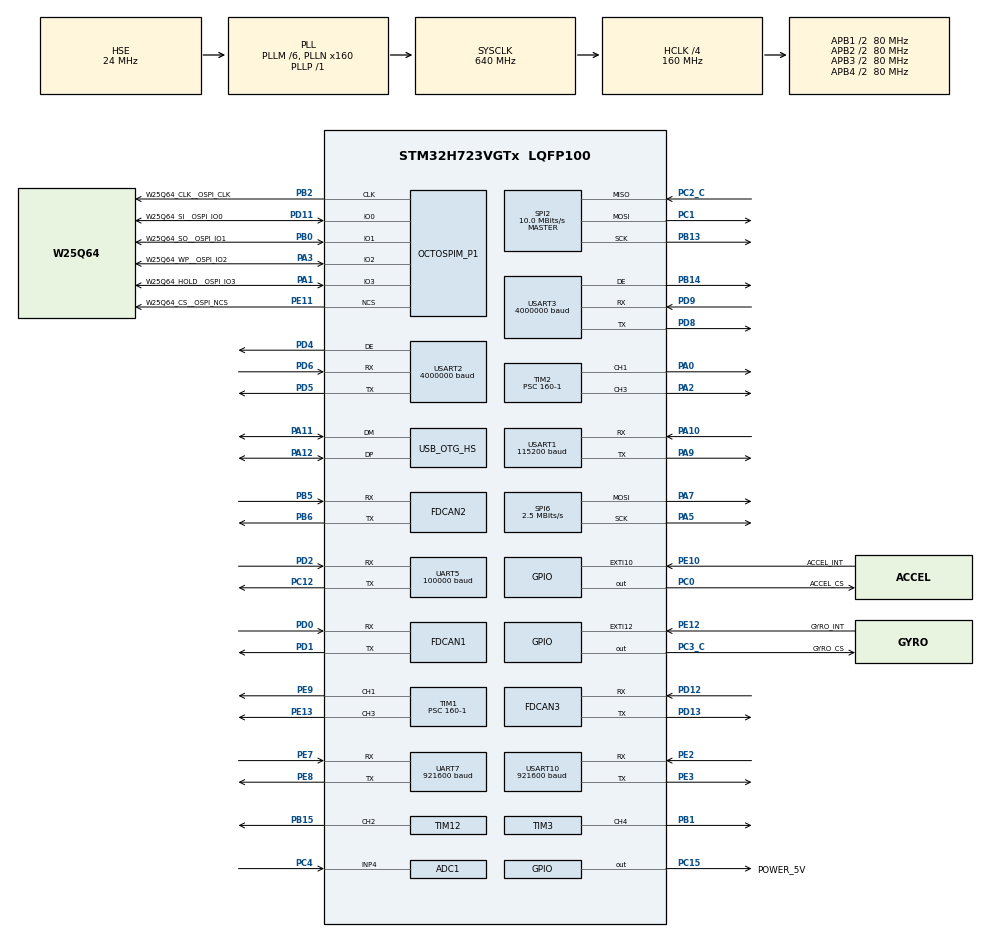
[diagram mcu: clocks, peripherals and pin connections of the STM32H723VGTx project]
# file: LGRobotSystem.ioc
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ADC1.Channel-2\#ChannelRegularConversion=ADC_CHANNEL_4
ADC1.Channel-3\#ChannelRegularConversion=ADC_CHANNEL_4
ADC1.ClockPrescaler=ADC_CLOCK_ASYNC_DIV64
ADC1.ClockPrescalerADC3=ADC_CLOCK_SYNC_PCLK_DIV4
ADC1.ContinuousConvMode=ENABLE
ADC1.ConversionDataManagement=ADC_CONVERSIONDATA_DMA_CIRCULAR
ADC1.NbrOfConversion=2
ADC1.NbrOfConversionFlag=1
ADC1.OffsetNumber-2\#ChannelRegularConversion=ADC_OFFSET_NONE
ADC1.OffsetNumber-3\#ChannelRegularConversion=ADC_OFFSET_NONE
ADC1.OffsetSignedSaturation-2\#ChannelRegularConversion=DISABLE
ADC1.OffsetSignedSaturation-3\#ChannelRegularConversion=DISABLE
ADC1.Rank-2\#ChannelRegularConversion=1
ADC1.Rank-3\#ChannelRegularConversion=2
ADC1.SamplingTime-2\#ChannelRegularConversion=ADC_SAMPLETIME_32CYCLES_5
ADC1.SamplingTime-3\#ChannelRegularConversion=ADC_SAMPLETIME_1CYCLE_5
ADC1.master=1
ADC3.Channel-0\#ChannelRegularConversion=ADC_CHANNEL_TEMPSENSOR
ADC3.ClockPrescalerADC3=ADC_CLOCK_SYNC_PCLK_DIV4
ADC3.DiscontinuousConvMode=ENABLE
ADC3.NbrOfConversionFlag=1
ADC3.OffsetNumber-0\#ChannelRegularConversion=ADC_OFFSET_NONE
ADC3.OffsetSign-0\#ChannelRegularConversion=ADC3_OFFSET_SIGN_NEGATIVE
ADC3.Rank-0\#ChannelRegularConversion=1
ADC3.SamplingTime-0\#ChannelRegularConversion=ADC3_SAMPLETIME_2CYCLES_5
Bdma.ADC3.0.Direction=DMA_PERIPH_TO_MEMORY
Bdma.ADC3.0.EventEnable=DISABLE
Bdma.ADC3.0.Instance=BDMA_Channel0
Bdma.ADC3.0.MemDataAlignment=DMA_MDATAALIGN_HALFWORD
Bdma.ADC3.0.MemInc=DMA_MINC_ENABLE
Bdma.ADC3.0.Mode=DMA_CIRCULAR
Bdma.ADC3.0.PeriphDataAlignment=DMA_PDATAALIGN_HALFWORD
Bdma.ADC3.0.PeriphInc=DMA_PINC_DISABLE
Bdma.ADC3.0.Polarity=HAL_DMAMUX_REQ_GEN_RISING
Bdma.ADC3.0.Priority=DMA_PRIORITY_LOW
Bdma.ADC3.0.RequestNumber=1
Bdma.ADC3.0.SignalID=NONE
Bdma.ADC3.0.SyncEnable=DISABLE
Bdma.ADC3.0.SyncPolarity=HAL_DMAMUX_SYNC_NO_EVENT
Bdma.ADC3.0.SyncRequestNumber=1
Bdma.ADC3.0.SyncSignalID=NONE
Bdma.Request0=ADC3
Bdma.Request1=SPI6_TX
Bdma.RequestsNb=2
Bdma.SPI6_TX.1.Direction=DMA_MEMORY_TO_PERIPH
Bdma.SPI6_TX.1.EventEnable=DISABLE
Bdma.SPI6_TX.1.Instance=BDMA_Channel1
Bdma.SPI6_TX.1.MemDataAlignment=DMA_MDATAALIGN_BYTE
Bdma.SPI6_TX.1.MemInc=DMA_MINC_ENABLE
Bdma.SPI6_TX.1.Mode=DMA_NORMAL
Bdma.SPI6_TX.1.PeriphDataAlignment=DMA_PDATAALIGN_BYTE
Bdma.SPI6_TX.1.PeriphInc=DMA_PINC_DISABLE
Bdma.SPI6_TX.1.Polarity=HAL_DMAMUX_REQ_GEN_RISING
Bdma.SPI6_TX.1.Priority=DMA_PRIORITY_LOW
Bdma.SPI6_TX.1.RequestNumber=1
Bdma.SPI6_TX.1.SignalID=NONE
Bdma.SPI6_TX.1.SyncEnable=DISABLE
Bdma.SPI6_TX.1.SyncPolarity=HAL_DMAMUX_SYNC_NO_EVENT
Bdma.SPI6_TX.1.SyncRequestNumber=1
Bdma.SPI6_TX.1.SyncSignalID=NONE
CORTEX_M7.AccessPermission-Cortex_Memory_Protection_Unit_Region0_Settings=MPU_REGION_FULL_ACCESS
CORTEX_M7.AccessPermission_S-Cortex_Memory_Protection_Unit_Region1_Settings_S=MPU_REGION_FULL_ACCESS
CORTEX_M7.AccessPermission_Spec=MPU_REGION_FULL_ACCESS
CORTEX_M7.BaseAddress-Cortex_Memory_Protection_Unit_Region0_Settings=0x24000000
CORTEX_M7.BaseAddress_S-Cortex_Memory_Protection_Unit_Region1_Settings_S=0x70000000 
CORTEX_M7.BaseAddress_Spec=0x24000000
CORTEX_M7.CPU_DCache=Enabled
CORTEX_M7.CPU_ICache=Enabled
CORTEX_M7.DisableExec_Spec=MPU_INSTRUCTION_ACCESS_ENABLE
CORTEX_M7.Enable-Cortex_Memory_Protection_Unit_Region0_Settings=MPU_REGION_ENABLE
CORTEX_M7.Enable_S-Cortex_Memory_Protection_Unit_Region1_Settings_S=MPU_REGION_ENABLE
CORTEX_M7.IsBufferable_Spec=MPU_ACCESS_NOT_BUFFERABLE
CORTEX_M7.IsCacheable_Spec=MPU_ACCESS_NOT_CACHEABLE
CORTEX_M7.IsShareable_Spec=MPU_ACCESS_NOT_SHAREABLE
CORTEX_M7.MPU_Control=MPU_HFNMI_PRIVDEF
CORTEX_M7.Size-Cortex_Memory_Protection_Unit_Region0_Settings=MPU_REGION_SIZE_512KB
CORTEX_M7.Size_S-Cortex_Memory_Protection_Unit_Region1_Settings_S=MPU_REGION_SIZE_256MB
CORTEX_M7.Size_Spec=MPU_REGION_SIZE_512KB
CORTEX_M7.SubRegionDisable_Spec=0x0
CORTEX_M7.TypeExtField-Cortex_Memory_Protection_Unit_Region0_Settings=MPU_TEX_LEVEL1
CORTEX_M7.TypeExtField_S-Cortex_Memory_Protection_Unit_Region1_Settings_S=MPU_TEX_LEVEL1
CORTEX_M7.TypeExtField_Spec=MPU_TEX_LEVEL1
CORTEX_M7.default_mode_Activation=1
Dma.ADC1.14.Direction=DMA_PERIPH_TO_MEMORY
Dma.ADC1.14.EventEnable=DISABLE
Dma.ADC1.14.FIFOMode=DMA_FIFOMODE_DISABLE
Dma.ADC1.14.Instance=DMA2_Stream6
Dma.ADC1.14.MemDataAlignment=DMA_MDATAALIGN_HALFWORD
Dma.ADC1.14.MemInc=DMA_MINC_ENABLE
Dma.ADC1.14.Mode=DMA_CIRCULAR
Dma.ADC1.14.PeriphDataAlignment=DMA_PDATAALIGN_HALFWORD
Dma.ADC1.14.PeriphInc=DMA_PINC_DISABLE
Dma.ADC1.14.Polarity=HAL_DMAMUX_REQ_GEN_RISING
Dma.ADC1.14.Priority=DMA_PRIORITY_LOW
Dma.ADC1.14.RequestNumber=1
Dma.ADC1.14.SignalID=NONE
Dma.ADC1.14.SyncEnable=DISABLE
Dma.ADC1.14.SyncPolarity=HAL_DMAMUX_SYNC_NO_EVENT
Dma.ADC1.14.SyncRequestNumber=1
Dma.ADC1.14.SyncSignalID=NONE
Dma.MEMTOMEM.11.Direction=DMA_MEMORY_TO_MEMORY
Dma.MEMTOMEM.11.EventEnable=DISABLE
Dma.MEMTOMEM.11.FIFOMode=DMA_FIFOMODE_ENABLE
Dma.MEMTOMEM.11.FIFOThreshold=DMA_FIFO_THRESHOLD_FULL
Dma.MEMTOMEM.11.Instance=DMA1_Stream0
Dma.MEMTOMEM.11.MemBurst=DMA_MBURST_SINGLE
Dma.MEMTOMEM.11.MemDataAlignment=DMA_MDATAALIGN_BYTE
Dma.MEMTOMEM.11.MemInc=DMA_MINC_ENABLE
Dma.MEMTOMEM.11.Mode=DMA_NORMAL
Dma.MEMTOMEM.11.PeriphBurst=DMA_PBURST_SINGLE
Dma.MEMTOMEM.11.PeriphDataAlignment=DMA_PDATAALIGN_BYTE
Dma.MEMTOMEM.11.PeriphInc=DMA_PINC_ENABLE
Dma.MEMTOMEM.11.Polarity=HAL_DMAMUX_REQ_GEN_RISING
Dma.MEMTOMEM.11.Priority=DMA_PRIORITY_LOW
Dma.MEMTOMEM.11.RequestNumber=1
Dma.MEMTOMEM.11.SignalID=NONE
Dma.MEMTOMEM.11.SyncEnable=DISABLE
Dma.MEMTOMEM.11.SyncPolarity=HAL_DMAMUX_SYNC_NO_EVENT
Dma.MEMTOMEM.11.SyncRequestNumber=1
Dma.MEMTOMEM.11.SyncSignalID=NONE
Dma.Request0=UART5_RX
Dma.Request1=SPI2_RX
Dma.Request10=USART3_TX
Dma.Request11=MEMTOMEM
Dma.Request12=USART10_RX
Dma.Request13=USART10_TX
Dma.Request14=ADC1
Dma.Request2=SPI2_TX
Dma.Request3=UART7_RX
Dma.Request4=UART7_TX
Dma.Request5=USART1_RX
Dma.Request6=USART1_TX
Dma.Request7=USART2_RX
Dma.Request8=USART2_TX
Dma.Request9=USART3_RX
Dma.SPI2_RX.1.Direction=DMA_PERIPH_TO_MEMORY
Dma.SPI2_RX.1.EventEnable=DISABLE
Dma.SPI2_RX.1.FIFOMode=DMA_FIFOMODE_DISABLE
Dma.SPI2_RX.1.Instance=DMA1_Stream1
Dma.SPI2_RX.1.MemDataAlignment=DMA_MDATAALIGN_BYTE
Dma.SPI2_RX.1.MemInc=DMA_MINC_ENABLE
Dma.SPI2_RX.1.Mode=DMA_NORMAL
Dma.SPI2_RX.1.PeriphDataAlignment=DMA_PDATAALIGN_BYTE
Dma.SPI2_RX.1.PeriphInc=DMA_PINC_DISABLE
Dma.SPI2_RX.1.Polarity=HAL_DMAMUX_REQ_GEN_RISING
Dma.SPI2_RX.1.Priority=DMA_PRIORITY_VERY_HIGH
Dma.SPI2_RX.1.RequestNumber=1
Dma.SPI2_RX.1.SignalID=NONE
Dma.SPI2_RX.1.SyncEnable=DISABLE
Dma.SPI2_RX.1.SyncPolarity=HAL_DMAMUX_SYNC_NO_EVENT
Dma.SPI2_RX.1.SyncRequestNumber=1
Dma.SPI2_RX.1.SyncSignalID=NONE
Dma.SPI2_TX.2.Direction=DMA_MEMORY_TO_PERIPH
Dma.SPI2_TX.2.EventEnable=DISABLE
Dma.SPI2_TX.2.FIFOMode=DMA_FIFOMODE_DISABLE
Dma.SPI2_TX.2.Instance=DMA1_Stream2
Dma.SPI2_TX.2.MemDataAlignment=DMA_MDATAALIGN_BYTE
Dma.SPI2_TX.2.MemInc=DMA_MINC_ENABLE
Dma.SPI2_TX.2.Mode=DMA_NORMAL
Dma.SPI2_TX.2.PeriphDataAlignment=DMA_PDATAALIGN_BYTE
Dma.SPI2_TX.2.PeriphInc=DMA_PINC_DISABLE
Dma.SPI2_TX.2.Polarity=HAL_DMAMUX_REQ_GEN_RISING
Dma.SPI2_TX.2.Priority=DMA_PRIORITY_MEDIUM
Dma.SPI2_TX.2.RequestNumber=1
Dma.SPI2_TX.2.SignalID=NONE
Dma.SPI2_TX.2.SyncEnable=DISABLE
Dma.SPI2_TX.2.SyncPolarity=HAL_DMAMUX_SYNC_NO_EVENT
Dma.SPI2_TX.2.SyncRequestNumber=1
Dma.SPI2_TX.2.SyncSignalID=NONE
Dma.UART5_RX.0.Direction=DMA_PERIPH_TO_MEMORY
Dma.UART5_RX.0.EventEnable=DISABLE
Dma.UART5_RX.0.FIFOMode=DMA_FIFOMODE_DISABLE
Dma.UART5_RX.0.Instance=DMA2_Stream3
Dma.UART5_RX.0.MemDataAlignment=DMA_MDATAALIGN_BYTE
Dma.UART5_RX.0.MemInc=DMA_MINC_ENABLE
Dma.UART5_RX.0.Mode=DMA_CIRCULAR
Dma.UART5_RX.0.PeriphDataAlignment=DMA_PDATAALIGN_BYTE
Dma.UART5_RX.0.PeriphInc=DMA_PINC_DISABLE
Dma.UART5_RX.0.Polarity=HAL_DMAMUX_REQ_GEN_RISING
Dma.UART5_RX.0.Priority=DMA_PRIORITY_VERY_HIGH
Dma.UART5_RX.0.RequestNumber=1
Dma.UART5_RX.0.SignalID=NONE
Dma.UART5_RX.0.SyncEnable=DISABLE
Dma.UART5_RX.0.SyncPolarity=HAL_DMAMUX_SYNC_NO_EVENT
Dma.UART5_RX.0.SyncRequestNumber=1
Dma.UART5_RX.0.SyncSignalID=NONE
Dma.UART7_RX.3.Direction=DMA_PERIPH_TO_MEMORY
Dma.UART7_RX.3.EventEnable=DISABLE
Dma.UART7_RX.3.FIFOMode=DMA_FIFOMODE_DISABLE
Dma.UART7_RX.3.Instance=DMA1_Stream3
Dma.UART7_RX.3.MemDataAlignment=DMA_MDATAALIGN_BYTE
Dma.UART7_RX.3.MemInc=DMA_MINC_ENABLE
Dma.UART7_RX.3.Mode=DMA_CIRCULAR
Dma.UART7_RX.3.PeriphDataAlignment=DMA_PDATAALIGN_BYTE
Dma.UART7_RX.3.PeriphInc=DMA_PINC_DISABLE
Dma.UART7_RX.3.Polarity=HAL_DMAMUX_REQ_GEN_RISING
Dma.UART7_RX.3.Priority=DMA_PRIORITY_LOW
Dma.UART7_RX.3.RequestNumber=1
Dma.UART7_RX.3.SignalID=NONE
Dma.UART7_RX.3.SyncEnable=DISABLE
Dma.UART7_RX.3.SyncPolarity=HAL_DMAMUX_SYNC_NO_EVENT
Dma.UART7_RX.3.SyncRequestNumber=1
Dma.UART7_RX.3.SyncSignalID=NONE
Dma.UART7_TX.4.Direction=DMA_MEMORY_TO_PERIPH
Dma.UART7_TX.4.EventEnable=DISABLE
Dma.UART7_TX.4.FIFOMode=DMA_FIFOMODE_DISABLE
Dma.UART7_TX.4.Instance=DMA1_Stream4
Dma.UART7_TX.4.MemDataAlignment=DMA_MDATAALIGN_BYTE
Dma.UART7_TX.4.MemInc=DMA_MINC_ENABLE
Dma.UART7_TX.4.Mode=DMA_NORMAL
Dma.UART7_TX.4.PeriphDataAlignment=DMA_PDATAALIGN_BYTE
Dma.UART7_TX.4.PeriphInc=DMA_PINC_DISABLE
Dma.UART7_TX.4.Polarity=HAL_DMAMUX_REQ_GEN_RISING
Dma.UART7_TX.4.Priority=DMA_PRIORITY_LOW
Dma.UART7_TX.4.RequestNumber=1
Dma.UART7_TX.4.SignalID=NONE
Dma.UART7_TX.4.SyncEnable=DISABLE
Dma.UART7_TX.4.SyncPolarity=HAL_DMAMUX_SYNC_NO_EVENT
Dma.UART7_TX.4.SyncRequestNumber=1
Dma.UART7_TX.4.SyncSignalID=NONE
Dma.USART10_RX.12.Direction=DMA_PERIPH_TO_MEMORY
Dma.USART10_RX.12.EventEnable=DISABLE
Dma.USART10_RX.12.FIFOMode=DMA_FIFOMODE_DISABLE
Dma.USART10_RX.12.Instance=DMA2_Stream4
Dma.USART10_RX.12.MemDataAlignment=DMA_MDATAALIGN_BYTE
Dma.USART10_RX.12.MemInc=DMA_MINC_ENABLE
Dma.USART10_RX.12.Mode=DMA_CIRCULAR
Dma.USART10_RX.12.PeriphDataAlignment=DMA_PDATAALIGN_BYTE
Dma.USART10_RX.12.PeriphInc=DMA_PINC_DISABLE
Dma.USART10_RX.12.Polarity=HAL_DMAMUX_REQ_GEN_RISING
Dma.USART10_RX.12.Priority=DMA_PRIORITY_VERY_HIGH
Dma.USART10_RX.12.RequestNumber=1
Dma.USART10_RX.12.SignalID=NONE
Dma.USART10_RX.12.SyncEnable=DISABLE
Dma.USART10_RX.12.SyncPolarity=HAL_DMAMUX_SYNC_NO_EVENT
Dma.USART10_RX.12.SyncRequestNumber=1
Dma.USART10_RX.12.SyncSignalID=NONE
Dma.USART10_TX.13.Direction=DMA_MEMORY_TO_PERIPH
Dma.USART10_TX.13.EventEnable=DISABLE
Dma.USART10_TX.13.FIFOMode=DMA_FIFOMODE_DISABLE
Dma.USART10_TX.13.Instance=DMA2_Stream5
Dma.USART10_TX.13.MemDataAlignment=DMA_MDATAALIGN_BYTE
Dma.USART10_TX.13.MemInc=DMA_MINC_ENABLE
Dma.USART10_TX.13.Mode=DMA_NORMAL
Dma.USART10_TX.13.PeriphDataAlignment=DMA_PDATAALIGN_BYTE
Dma.USART10_TX.13.PeriphInc=DMA_PINC_DISABLE
Dma.USART10_TX.13.Polarity=HAL_DMAMUX_REQ_GEN_RISING
Dma.USART10_TX.13.Priority=DMA_PRIORITY_VERY_HIGH
Dma.USART10_TX.13.RequestNumber=1
Dma.USART10_TX.13.SignalID=NONE
Dma.USART10_TX.13.SyncEnable=DISABLE
Dma.USART10_TX.13.SyncPolarity=HAL_DMAMUX_SYNC_NO_EVENT
Dma.USART10_TX.13.SyncRequestNumber=1
Dma.USART10_TX.13.SyncSignalID=NONE
Dma.USART1_RX.5.Direction=DMA_PERIPH_TO_MEMORY
Dma.USART1_RX.5.EventEnable=DISABLE
Dma.USART1_RX.5.FIFOMode=DMA_FIFOMODE_DISABLE
Dma.USART1_RX.5.Instance=DMA1_Stream5
Dma.USART1_RX.5.MemDataAlignment=DMA_MDATAALIGN_BYTE
Dma.USART1_RX.5.MemInc=DMA_MINC_ENABLE
Dma.USART1_RX.5.Mode=DMA_NORMAL
Dma.USART1_RX.5.PeriphDataAlignment=DMA_PDATAALIGN_BYTE
Dma.USART1_RX.5.PeriphInc=DMA_PINC_DISABLE
Dma.USART1_RX.5.Polarity=HAL_DMAMUX_REQ_GEN_RISING
Dma.USART1_RX.5.Priority=DMA_PRIORITY_VERY_HIGH
Dma.USART1_RX.5.RequestNumber=1
Dma.USART1_RX.5.SignalID=NONE
Dma.USART1_RX.5.SyncEnable=DISABLE
Dma.USART1_RX.5.SyncPolarity=HAL_DMAMUX_SYNC_NO_EVENT
Dma.USART1_RX.5.SyncRequestNumber=1
Dma.USART1_RX.5.SyncSignalID=NONE
Dma.USART1_TX.6.Direction=DMA_MEMORY_TO_PERIPH
Dma.USART1_TX.6.EventEnable=DISABLE
Dma.USART1_TX.6.FIFOMode=DMA_FIFOMODE_DISABLE
Dma.USART1_TX.6.Instance=DMA1_Stream6
Dma.USART1_TX.6.MemDataAlignment=DMA_MDATAALIGN_BYTE
Dma.USART1_TX.6.MemInc=DMA_MINC_ENABLE
Dma.USART1_TX.6.Mode=DMA_NORMAL
Dma.USART1_TX.6.PeriphDataAlignment=DMA_PDATAALIGN_BYTE
Dma.USART1_TX.6.PeriphInc=DMA_PINC_DISABLE
Dma.USART1_TX.6.Polarity=HAL_DMAMUX_REQ_GEN_RISING
Dma.USART1_TX.6.Priority=DMA_PRIORITY_VERY_HIGH
Dma.USART1_TX.6.RequestNumber=1
Dma.USART1_TX.6.SignalID=NONE
Dma.USART1_TX.6.SyncEnable=DISABLE
Dma.USART1_TX.6.SyncPolarity=HAL_DMAMUX_SYNC_NO_EVENT
Dma.USART1_TX.6.SyncRequestNumber=1
Dma.USART1_TX.6.SyncSignalID=NONE
Dma.USART2_RX.7.Direction=DMA_PERIPH_TO_MEMORY
Dma.USART2_RX.7.EventEnable=DISABLE
Dma.USART2_RX.7.FIFOMode=DMA_FIFOMODE_DISABLE
Dma.USART2_RX.7.Instance=DMA1_Stream7
Dma.USART2_RX.7.MemDataAlignment=DMA_MDATAALIGN_BYTE
Dma.USART2_RX.7.MemInc=DMA_MINC_ENABLE
Dma.USART2_RX.7.Mode=DMA_CIRCULAR
Dma.USART2_RX.7.PeriphDataAlignment=DMA_PDATAALIGN_BYTE
Dma.USART2_RX.7.PeriphInc=DMA_PINC_DISABLE
Dma.USART2_RX.7.Polarity=HAL_DMAMUX_REQ_GEN_RISING
Dma.USART2_RX.7.Priority=DMA_PRIORITY_MEDIUM
Dma.USART2_RX.7.RequestNumber=1
Dma.USART2_RX.7.SignalID=NONE
Dma.USART2_RX.7.SyncEnable=DISABLE
Dma.USART2_RX.7.SyncPolarity=HAL_DMAMUX_SYNC_NO_EVENT
Dma.USART2_RX.7.SyncRequestNumber=1
Dma.USART2_RX.7.SyncSignalID=NONE
Dma.USART2_TX.8.Direction=DMA_MEMORY_TO_PERIPH
Dma.USART2_TX.8.EventEnable=DISABLE
Dma.USART2_TX.8.FIFOMode=DMA_FIFOMODE_DISABLE
Dma.USART2_TX.8.Instance=DMA2_Stream0
Dma.USART2_TX.8.MemDataAlignment=DMA_MDATAALIGN_BYTE
Dma.USART2_TX.8.MemInc=DMA_MINC_ENABLE
Dma.USART2_TX.8.Mode=DMA_NORMAL
Dma.USART2_TX.8.PeriphDataAlignment=DMA_PDATAALIGN_BYTE
Dma.USART2_TX.8.PeriphInc=DMA_PINC_DISABLE
Dma.USART2_TX.8.Polarity=HAL_DMAMUX_REQ_GEN_RISING
Dma.USART2_TX.8.Priority=DMA_PRIORITY_MEDIUM
Dma.USART2_TX.8.RequestNumber=1
Dma.USART2_TX.8.SignalID=NONE
Dma.USART2_TX.8.SyncEnable=DISABLE
Dma.USART2_TX.8.SyncPolarity=HAL_DMAMUX_SYNC_NO_EVENT
Dma.USART2_TX.8.SyncRequestNumber=1
Dma.USART2_TX.8.SyncSignalID=NONE
Dma.USART3_RX.9.Direction=DMA_PERIPH_TO_MEMORY
Dma.USART3_RX.9.EventEnable=DISABLE
Dma.USART3_RX.9.FIFOMode=DMA_FIFOMODE_DISABLE
Dma.USART3_RX.9.Instance=DMA2_Stream1
Dma.USART3_RX.9.MemDataAlignment=DMA_MDATAALIGN_BYTE
Dma.USART3_RX.9.MemInc=DMA_MINC_ENABLE
Dma.USART3_RX.9.Mode=DMA_CIRCULAR
Dma.USART3_RX.9.PeriphDataAlignment=DMA_PDATAALIGN_BYTE
Dma.USART3_RX.9.PeriphInc=DMA_PINC_DISABLE
Dma.USART3_RX.9.Polarity=HAL_DMAMUX_REQ_GEN_RISING
Dma.USART3_RX.9.Priority=DMA_PRIORITY_MEDIUM
Dma.USART3_RX.9.RequestNumber=1
Dma.USART3_RX.9.SignalID=NONE
Dma.USART3_RX.9.SyncEnable=DISABLE
Dma.USART3_RX.9.SyncPolarity=HAL_DMAMUX_SYNC_NO_EVENT
Dma.USART3_RX.9.SyncRequestNumber=1
Dma.USART3_RX.9.SyncSignalID=NONE
Dma.USART3_TX.10.Direction=DMA_MEMORY_TO_PERIPH
Dma.USART3_TX.10.EventEnable=DISABLE
Dma.USART3_TX.10.FIFOMode=DMA_FIFOMODE_DISABLE
Dma.USART3_TX.10.Instance=DMA2_Stream2
Dma.USART3_TX.10.MemDataAlignment=DMA_MDATAALIGN_BYTE
Dma.USART3_TX.10.MemInc=DMA_MINC_ENABLE
Dma.USART3_TX.10.Mode=DMA_NORMAL
Dma.USART3_TX.10.PeriphDataAlignment=DMA_PDATAALIGN_BYTE
Dma.USART3_TX.10.PeriphInc=DMA_PINC_DISABLE
Dma.USART3_TX.10.Polarity=HAL_DMAMUX_REQ_GEN_RISING
Dma.USART3_TX.10.Priority=DMA_PRIORITY_MEDIUM
Dma.USART3_TX.10.RequestNumber=1
Dma.USART3_TX.10.SignalID=NONE
Dma.USART3_TX.10.SyncEnable=DISABLE
Dma.USART3_TX.10.SyncPolarity=HAL_DMAMUX_SYNC_NO_EVENT
Dma.USART3_TX.10.SyncRequestNumber=1
Dma.USART3_TX.10.SyncSignalID=NONE
FDCAN1.AutoRetransmission=ENABLE
FDCAN1.CalculateBaudRateNominal=1000000
FDCAN1.CalculateTimeBitNominal=1000
FDCAN1.CalculateTimeQuantumNominal=50.0
FDCAN1.ClockCalibrationCCU=DISABLE
FDCAN1.DataPrescaler=5
FDCAN1.DataSyncJumpWidth=5
FDCAN1.DataTimeSeg1=14
FDCAN1.DataTimeSeg2=5
FDCAN1.ExtFiltersNbr=0
FDCAN1.FrameFormat=FDCAN_FRAME_CLASSIC
FDCAN1.NominalPrescaler=5
FDCAN1.NominalSyncJumpWidth=5
FDCAN1.NominalTimeSeg1=14
FDCAN1.NominalTimeSeg2=5
FDCAN1.ProtocolException=ENABLE
FDCAN1.RxBufferSize=FDCAN_DATA_BYTES_8
FDCAN1.RxFifo0ElmtSize=FDCAN_DATA_BYTES_8
FDCAN1.RxFifo0ElmtsNbr=8
FDCAN1.RxFifo1ElmtSize=FDCAN_DATA_BYTES_8
FDCAN1.StdFiltersNbr=1
FDCAN1.TransmitPause=DISABLE
FDCAN1.TxElmtSize=FDCAN_DATA_BYTES_8
FDCAN1.TxFifoQueueElmtsNbr=8
FDCAN1.TxFifoQueueMode=FDCAN_TX_FIFO_OPERATION
FDCAN2.AutoRetransmission=ENABLE
FDCAN2.CalculateBaudRateNominal=1000000
FDCAN2.CalculateTimeBitNominal=1000
FDCAN2.CalculateTimeQuantumNominal=50.0
FDCAN2.DataPrescaler=1
FDCAN2.DataSyncJumpWidth=5
FDCAN2.DataTimeSeg1=14
FDCAN2.DataTimeSeg2=5
FDCAN2.FrameFormat=FDCAN_FRAME_CLASSIC
FDCAN2.MessageRAMOffset=853
FDCAN2.NominalPrescaler=5
FDCAN2.NominalSyncJumpWidth=5
FDCAN2.NominalTimeSeg1=14
FDCAN2.NominalTimeSeg2=5
FDCAN2.ProtocolException=ENABLE
FDCAN2.RxFifo0ElmtsNbr=0
FDCAN2.RxFifo1ElmtsNbr=8
FDCAN2.StdFiltersNbr=1
FDCAN2.TxFifoQueueElmtsNbr=8
FDCAN3.AutoRetransmission=ENABLE
FDCAN3.CalculateBaudRateNominal=1000000
FDCAN3.CalculateTimeBitNominal=1000
FDCAN3.CalculateTimeQuantumNominal=50.0
FDCAN3.DataPrescaler=5
FDCAN3.DataSyncJumpWidth=5
FDCAN3.DataTimeSeg1=14
FDCAN3.DataTimeSeg2=5
FDCAN3.FrameFormat=FDCAN_FRAME_CLASSIC
FDCAN3.MessageRAMOffset=1706
FDCAN3.NominalPrescaler=5
FDCAN3.NominalSyncJumpWidth=5
FDCAN3.NominalTimeSeg1=14
FDCAN3.NominalTimeSeg2=5
FDCAN3.ProtocolException=ENABLE
FDCAN3.RxFifo0ElmtsNbr=8
FDCAN3.StdFiltersNbr=1
FDCAN3.TxFifoQueueElmtsNbr=8
FREERTOS.INCLUDE_vTaskDelayUntil=1
FREERTOS.Tasks01=defaultTask,0,1024,StartDefaultTask,Default,NULL,Dynamic,NULL,NULL
FREERTOS.configCHECK_FOR_STACK_OVERFLOW=2
FREERTOS.configENABLE_FPU=1
FREERTOS.configMAX_TASK_NAME_LEN=32
FREERTOS.configMINIMAL_STACK_SIZE=128
FREERTOS.configRECORD_STACK_HIGH_ADDRESS=1
FREERTOS.configTOTAL_HEAP_SIZE=32768
FREERTOS.configUSE_MALLOC_FAILED_HOOK=1
FREERTOS.configUSE_NEWLIB_REENTRANT=1
FREERTOS.configUSE_STATS_FORMATTING_FUNCTIONS=1
Mcu.Family=STM32H7
Mcu.Name=STM32H723VGTx
Mcu.Package=LQFP100
Mdma.MDMA_Channel0.OCTOSPI2_FIFO_TH.0.BlockCount=0
Mdma.MDMA_Channel0.OCTOSPI2_FIFO_TH.0.BlockDataLength=0
Mdma.MDMA_Channel0.OCTOSPI2_FIFO_TH.0.BufferTransferLength=1
Mdma.MDMA_Channel0.OCTOSPI2_FIFO_TH.0.CircularMode=MDMA_LINEAR_LIST
Mdma.MDMA_Channel0.OCTOSPI2_FIFO_TH.0.DataAlignment=MDMA_DATAALIGN_PACKENABLE
Mdma.MDMA_Channel0.OCTOSPI2_FIFO_TH.0.DestBlockAddressOffset=0
Mdma.MDMA_Channel0.OCTOSPI2_FIFO_TH.0.DestBurst=MDMA_DEST_BURST_SINGLE
Mdma.MDMA_Channel0.OCTOSPI2_FIFO_TH.0.DestDataSize=MDMA_DEST_DATASIZE_BYTE
Mdma.MDMA_Channel0.OCTOSPI2_FIFO_TH.0.DestinationInc=MDMA_DEST_INC_BYTE
Mdma.MDMA_Channel0.OCTOSPI2_FIFO_TH.0.DstAddress=0
Mdma.MDMA_Channel0.OCTOSPI2_FIFO_TH.0.Endianness=MDMA_LITTLE_ENDIANNESS_PRESERVE
Mdma.MDMA_Channel0.OCTOSPI2_FIFO_TH.0.Instance=MDMA_Channel0
Mdma.MDMA_Channel0.OCTOSPI2_FIFO_TH.0.MaskAddress=0
Mdma.MDMA_Channel0.OCTOSPI2_FIFO_TH.0.MaskData=0
Mdma.MDMA_Channel0.OCTOSPI2_FIFO_TH.0.Priority=MDMA_PRIORITY_LOW
Mdma.MDMA_Channel0.OCTOSPI2_FIFO_TH.0.Rank=First
Mdma.MDMA_Channel0.OCTOSPI2_FIFO_TH.0.SourceBlockAddressOffset=0
Mdma.MDMA_Channel0.OCTOSPI2_FIFO_TH.0.SourceBurst=MDMA_SOURCE_BURST_SINGLE
Mdma.MDMA_Channel0.OCTOSPI2_FIFO_TH.0.SourceDataSize=MDMA_SRC_DATASIZE_BYTE
Mdma.MDMA_Channel0.OCTOSPI2_FIFO_TH.0.SourceInc=MDMA_SRC_INC_BYTE
Mdma.MDMA_Channel0.OCTOSPI2_FIFO_TH.0.SrcAddress=0
Mdma.MDMA_Channel0.OCTOSPI2_FIFO_TH.0.TransferTriggerMode=MDMA_BUFFER_TRANSFER
Mdma.MDMA_Channel0.Request0=OCTOSPI2_FIFO_TH
Mdma.MDMA_Channel0.RequestsNb=1
Mdma.RequestSet0=MDMA_Channel0
Mdma.RequestSetsNb=1
NVIC.BDMA_Channel0_IRQn=true\:5\:0\:false\:false\:true\:true\:false\:true\:true
NVIC.BDMA_Channel1_IRQn=true\:5\:0\:false\:false\:true\:true\:false\:true\:true
NVIC.DMA1_Stream0_IRQn=true\:5\:0\:false\:false\:true\:true\:false\:true\:true
NVIC.DMA1_Stream1_IRQn=true\:5\:0\:false\:false\:true\:true\:false\:true\:true
NVIC.DMA1_Stream2_IRQn=true\:5\:0\:false\:false\:true\:true\:false\:true\:true
NVIC.DMA1_Stream3_IRQn=true\:5\:0\:false\:false\:true\:true\:false\:true\:true
NVIC.DMA1_Stream4_IRQn=true\:5\:0\:false\:false\:true\:true\:false\:true\:true
NVIC.DMA1_Stream5_IRQn=true\:5\:0\:false\:false\:true\:true\:false\:true\:true
NVIC.DMA1_Stream6_IRQn=true\:5\:0\:false\:false\:true\:true\:false\:true\:true
NVIC.DMA1_Stream7_IRQn=true\:5\:0\:false\:false\:true\:true\:false\:true\:true
NVIC.DMA2_Stream0_IRQn=true\:5\:0\:false\:false\:true\:true\:false\:true\:true
NVIC.DMA2_Stream1_IRQn=true\:5\:0\:false\:false\:true\:true\:false\:true\:true
NVIC.DMA2_Stream2_IRQn=true\:5\:0\:false\:false\:true\:true\:false\:true\:true
NVIC.DMA2_Stream3_IRQn=true\:5\:0\:false\:false\:true\:true\:false\:true\:true
NVIC.DMA2_Stream4_IRQn=true\:5\:0\:false\:false\:true\:true\:false\:true\:true
NVIC.DMA2_Stream5_IRQn=true\:5\:0\:false\:false\:true\:true\:false\:true\:true
NVIC.DMA2_Stream6_IRQn=true\:5\:0\:false\:false\:true\:true\:false\:true\:true
NVIC.FDCAN1_IT0_IRQn=true\:5\:0\:false\:false\:true\:true\:true\:true\:true
NVIC.FDCAN1_IT1_IRQn=true\:5\:0\:false\:false\:true\:true\:true\:true\:true
NVIC.FDCAN2_IT0_IRQn=true\:5\:0\:false\:false\:true\:true\:true\:true\:true
NVIC.FDCAN2_IT1_IRQn=true\:5\:0\:false\:false\:true\:true\:true\:true\:true
NVIC.FDCAN3_IT0_IRQn=true\:5\:0\:false\:false\:true\:true\:true\:true\:true
NVIC.FDCAN3_IT1_IRQn=true\:5\:0\:false\:false\:true\:true\:true\:true\:true
NVIC.MDMA_IRQn=true\:5\:0\:false\:false\:true\:true\:false\:true\:true
NVIC.OCTOSPI2_IRQn=true\:5\:0\:false\:false\:true\:true\:true\:true\:true
NVIC.OTG_HS_IRQn=true\:5\:0\:false\:false\:true\:true\:true\:true\:true
NVIC.PriorityGroup=NVIC_PRIORITYGROUP_4
NVIC.SPI2_IRQn=true\:5\:0\:true\:false\:true\:true\:false\:true\:true
NVIC.SPI6_IRQn=true\:5\:0\:false\:false\:true\:true\:true\:true\:true
NVIC.TIM4_IRQn=true\:15\:0\:false\:false\:true\:false\:false\:true\:true
NVIC.TimeBase=TIM4_IRQn
NVIC.TimeBaseIP=TIM4
NVIC.UART5_IRQn=true\:5\:0\:false\:false\:true\:true\:true\:true\:true
NVIC.UART7_IRQn=true\:5\:0\:false\:false\:true\:true\:true\:true\:true
NVIC.USART10_IRQn=true\:5\:0\:false\:false\:true\:true\:true\:true\:true
NVIC.USART1_IRQn=true\:5\:0\:false\:false\:true\:true\:true\:true\:true
NVIC.USART2_IRQn=true\:5\:0\:false\:false\:true\:true\:true\:true\:true
NVIC.USART3_IRQn=true\:5\:0\:false\:false\:true\:true\:true\:true\:true
OCTOSPI2.ClockMode=HAL_OSPI_CLOCK_MODE_3
OCTOSPI2.ClockPrescaler=3
OCTOSPI2.DeviceSize=23
OCTOSPI2.FifoThreshold=8
OCTOSPI2.SampleShifting=HAL_OSPI_SAMPLE_SHIFTING_HALFCYCLE
PA0.Signal=S_TIM2_CH1_ETR
PA1.GPIO_Label=W25Q64_HOLD__OSPI_IO3
PA1.Mode=OCTOSPI2_IOL_Port1L
PA1.Signal=OCTOSPIM_P1_IO3
PA10.Mode=Asynchronous
PA10.Signal=USART1_RX
PA11.Mode=Device_Only_FS
PA11.Signal=USB_OTG_HS_DM
PA12.Mode=Device_Only_FS
PA12.Signal=USB_OTG_HS_DP
PA13(JTMS/SWDIO).Mode=Serial_Wire
PA13(JTMS/SWDIO).Signal=DEBUG_JTMS-SWDIO
PA14(JTCK/SWCLK).Mode=Serial_Wire
PA14(JTCK/SWCLK).Signal=DEBUG_JTCK-SWCLK
PA2.Signal=S_TIM2_CH3
PA3.GPIO_Label=W25Q64_WP__OSPI_IO2
PA3.Mode=OCTOSPI2_IOL_Port1L
PA3.Signal=OCTOSPIM_P1_IO2
PA5.Mode=TX_Only_Simplex_Unidirect_Master
PA5.Signal=SPI6_SCK
PA7.Mode=TX_Only_Simplex_Unidirect_Master
PA7.Signal=SPI6_MOSI
PA9.Mode=Asynchronous
PA9.Signal=USART1_TX
PB0.GPIO_Label=W25Q64_SO__OSPI_IO1
PB0.Mode=OCTOSPI2_IOL_Port1L
PB0.Signal=OCTOSPIM_P1_IO1
PB1.Signal=S_TIM3_CH4
PB13.GPIO_Speed=GPIO_SPEED_FREQ_VERY_HIGH
PB13.Mode=Full_Duplex_Master
PB13.Signal=SPI2_SCK
PB14.Mode=Hardware Flow Control (RS485)
PB14.Signal=USART3_DE
PB15.Signal=S_TIM12_CH2
PB2.GPIO_Label=W25Q64_CLK__OSPI_CLK
PB2.Mode=O2_P1_CLK
PB2.Signal=OCTOSPIM_P1_CLK
PB5.Mode=FDCAN_Activate
PB5.Signal=FDCAN2_RX
PB6.GPIO_FM6=__NULL
PB6.Mode=FDCAN_Activate
PB6.Signal=FDCAN2_TX
PC0.GPIO_Label=ACCEL_CS
PC0.GPIO_PuPd=GPIO_NOPULL
PC0.GPIO_Speed=GPIO_SPEED_FREQ_MEDIUM
PC0.PinState=GPIO_PIN_SET
PC0.Signal=GPIO_Output
PC1.GPIO_Speed=GPIO_SPEED_FREQ_VERY_HIGH
PC1.Mode=Full_Duplex_Master
PC1.Signal=SPI2_MOSI
PC12.Mode=Asynchronous
PC12.Signal=UART5_TX
PC15-OSC32_OUT.GPIO_Label=POWER_5V
PC15-OSC32_OUT.Signal=GPIO_Output
PC15-OSC32_OUT.PinState=GPIO_PIN_RESET
PC2_C.GPIO_Speed=GPIO_SPEED_FREQ_VERY_HIGH
PC2_C.Mode=Full_Duplex_Master
PC2_C.Signal=SPI2_MISO
PC3_C.GPIO_Label=GYRO_CS
PC3_C.GPIO_PuPd=GPIO_NOPULL
PC3_C.GPIO_Speed=GPIO_SPEED_FREQ_MEDIUM
PC3_C.PinState=GPIO_PIN_SET
PC3_C.Signal=GPIO_Output
PC4.Signal=ADCx_INP4
PD0.Mode=FDCAN_Activate
PD0.Signal=FDCAN1_RX
PD1.Mode=FDCAN_Activate
PD1.Signal=FDCAN1_TX
PD11.GPIO_Label=W25Q64_SI__OSPI_IO0
PD11.Mode=OCTOSPI2_IOL_Port1L
PD11.Signal=OCTOSPIM_P1_IO0
PD12.Mode=FDCAN_Activate
PD12.Signal=FDCAN3_RX
PD13.Mode=FDCAN_Activate
PD13.Signal=FDCAN3_TX
PD2.GPIO_Speed=GPIO_SPEED_FREQ_VERY_HIGH
PD2.Mode=Asynchronous
PD2.Signal=UART5_RX
PD4.Mode=Hardware Flow Control (RS485)
PD4.Signal=USART2_DE
PD5.Mode=Asynchronous
PD5.Signal=USART2_TX
PD6.Mode=Asynchronous
PD6.Signal=USART2_RX
PD8.Mode=Asynchronous
PD8.Signal=USART3_TX
PD9.Mode=Asynchronous
PD9.Signal=USART3_RX
PE10.GPIO_Label=ACCEL_INT
PE10.GPIO_PuPd=GPIO_NOPULL
PE10.Signal=GPXTI10
PE11.GPIO_Label=W25Q64_CS__OSPI_NCS
PE11.Mode=OCTOSPI2_Port1_NCS
PE11.Signal=OCTOSPIM_P1_NCS
PE12.GPIO_Label=GYRO_INT
PE12.GPIO_PuPd=GPIO_NOPULL
PE12.Signal=GPXTI12
PE13.Signal=S_TIM1_CH3
PE2.Mode=Asynchronous
PE2.Signal=USART10_RX
PE3.Mode=Asynchronous
PE3.Signal=USART10_TX
PE7.Mode=Asynchronous
PE7.Signal=UART7_RX
PE8.Mode=Asynchronous
PE8.Signal=UART7_TX
PE9.Signal=S_TIM1_CH1
PH0-OSC_IN.Mode=HSE-External-Oscillator
PH0-OSC_IN.Signal=RCC_OSC_IN
PH1-OSC_OUT.Mode=HSE-External-Oscillator
PH1-OSC_OUT.Signal=RCC_OSC_OUT
ProjectManager.HeapSize=0x20000
ProjectManager.StackSize=0x10000
ProjectManager.TargetToolchain=STM32CubeIDE
RCC.ADCCLockSelection=RCC_ADCCLKSOURCE_CLKP
RCC.ADCFreq_Value=64000000
RCC.APB1Freq_Value=80000000
RCC.APB2Freq_Value=80000000
RCC.APB3Freq_Value=80000000
RCC.APB4Freq_Value=80000000
RCC.CortexFreq_Value=640000000
RCC.D1PPRE=RCC_APB3_DIV2
RCC.D2PPRE1=RCC_APB1_DIV2
RCC.D2PPRE2=RCC_APB2_DIV2
RCC.D3PPRE=RCC_APB4_DIV2
RCC.DIVM1=6
RCC.DIVM2=24
RCC.DIVM3=24
RCC.DIVN1=160
RCC.DIVN2=200
RCC.DIVN3=160
RCC.DIVP1=1
RCC.DIVQ1=4
RCC.EnbaleCSS=false
RCC.FDCANCLockSelection=RCC_FDCANCLKSOURCE_PLL2
RCC.FLatency-AdvancedSettings=FLASH_LATENCY_2
RCC.HCLKFreq_Value=160000000
RCC.HPRE=RCC_HCLK_DIV4
RCC.HSE_VALUE=24000000
RCC.PLL1_VCI_Range-AdvancedSettings=RCC_PLL1VCIRANGE_0
RCC.PLL1_VCO_SEL-AdvancedSettings=RCC_PLL1VCOMEDIUM
RCC.PLL2FRACN=0
RCC.PLL2_VCO_SEL-AdvancedSettings=RCC_PLL2VCOWIDE
RCC.PLL3FRACN=0
RCC.PLL3_VCO_SEL-AdvancedSettings=RCC_PLL3VCOWIDE
RCC.PLLFRACN=0
RCC.PLLSourceVirtual=RCC_PLLSOURCE_HSE
RCC.SPI123CLockSelection=RCC_SPI123CLKSOURCE_PLL3
RCC.SYSCLKFreq_VALUE=640000000
RCC.SYSCLKSource=RCC_SYSCLKSOURCE_PLLCLK
RCC.USART16CLockSelection=RCC_USART16910CLKSOURCE_PLL2
RCC.USBCLockSelection=RCC_USBCLKSOURCE_HSI48
RCC.USBFreq_Value=48000000
SH.ADCx_INP4.0=ADC1_INP4,IN4-Single-Ended
SH.S_TIM12_CH2.0=TIM12_CH2,PWM Generation2 CH2
SH.S_TIM1_CH1.0=TIM1_CH1,PWM Generation1 CH1
SH.S_TIM1_CH3.0=TIM1_CH3,PWM Generation3 CH3
SH.S_TIM2_CH1_ETR.0=TIM2_CH1,PWM Generation1 CH1
SH.S_TIM2_CH3.0=TIM2_CH3,PWM Generation3 CH3
SH.S_TIM3_CH4.0=TIM3_CH4,PWM Generation4 CH4
SPI2.BaudRatePrescaler=SPI_BAUDRATEPRESCALER_8
SPI2.CLKPhase=SPI_PHASE_2EDGE
SPI2.CLKPolarity=SPI_POLARITY_HIGH
SPI2.CalculateBaudRate=10.0 MBits/s
SPI2.DataSize=SPI_DATASIZE_8BIT
SPI2.Direction=SPI_DIRECTION_2LINES
SPI2.Mode=SPI_MODE_MASTER
SPI2.NSSPMode=SPI_NSS_PULSE_DISABLE
SPI2.VirtualType=VM_MASTER
SPI6.BaudRatePrescaler=SPI_BAUDRATEPRESCALER_32
SPI6.CalculateBaudRate=2.5 MBits/s
SPI6.DataSize=SPI_DATASIZE_8BIT
SPI6.Direction=SPI_DIRECTION_2LINES_TXONLY
SPI6.Mode=SPI_MODE_MASTER
SPI6.VirtualType=VM_MASTER
STMicroelectronics.X-CUBE-ALGOBUILD.1.4.0.LibraryCcDSPOoLibraryJjDSPOoLibrary=true
TIM1.Channel-PWM\ Generation1\ CH1=TIM_CHANNEL_1
TIM1.Channel-PWM\ Generation3\ CH3=TIM_CHANNEL_3
TIM1.Period=2000-1
TIM1.Prescaler=160-1
TIM12.Channel-PWM\ Generation2\ CH2=TIM_CHANNEL_2
TIM12.Period=10000-1
TIM12.Prescaler=160-1
TIM2.Channel-PWM\ Generation1\ CH1=TIM_CHANNEL_1
TIM2.Channel-PWM\ Generation3\ CH3=TIM_CHANNEL_3
TIM2.Period=2000-1
TIM2.Prescaler=160-1
TIM3.AutoReloadPreload=TIM_AUTORELOAD_PRELOAD_ENABLE
TIM3.Channel-PWM\ Generation4\ CH4=TIM_CHANNEL_4
TIM3.Period=20000
TIM3.Prescaler=80-1
TIM5.Period=3600000000-1
TIM5.Prescaler=160-1
UART5.BaudRate=100000
UART5.Parity=PARITY_EVEN
UART5.StopBits=UART_STOPBITS_2
UART5.WordLength=WORDLENGTH_9B
UART7.BaudRate=921600
USART1.BaudRate=115200
USART1.VirtualMode-Asynchronous=VM_ASYNC
USART10.BaudRate=921600
USART10.VirtualMode=VM_ASYNC
USART2.BaudRate=4000000
USART2.OverSampling=UART_OVERSAMPLING_8
USART2.VirtualMode-Asynchronous=VM_ASYNC
USART2.VirtualMode-Hardware\ Flow\ Control\ (RS485)=VM_ASYNC
USART3.BaudRate=4000000
USART3.OverSampling=UART_OVERSAMPLING_8
USART3.VirtualMode-Asynchronous=VM_ASYNC
USART3.VirtualMode-Hardware\ Flow\ Control\ (RS485)=VM_ASYNC
USB_DEVICE.CLASS_NAME_HS=CDC
USB_DEVICE.VirtualMode=Cdc
USB_DEVICE.VirtualModeHS=Cdc_HS
USB_OTG_HS.VirtualMode-Device_Only_FS=Device_Only_FS
VP_ADC3_TempSens_Input.Mode=IN-TempSens
VP_ADC3_Vbat_Input.Mode=IN-Vbat
VP_ADC3_Vref_Input.Mode=IN-Vrefint
VP_FREERTOS_VS_CMSIS_V2.Mode=CMSIS_V2
VP_MEMORYMAP_VS_MEMORYMAP.Mode=CurAppReg
VP_OCTOSPI2_VS_quad.Mode=quad_mode
VP_STMicroelectronics.X-CUBE-ALGOBUILD_VS_DSPOoLibraryJjLibrary_1.4.0_1.4.0.Mode=DSPOoLibraryJjLibrary
VP_SYS_VS_tim4.Mode=TIM4
VP_TIM12_VS_ClockSourceINT.Mode=Internal
VP_TIM5_VS_ClockSourceINT.Mode=Internal
VP_USB_DEVICE_VS_USB_DEVICE_CDC_HS.Mode=CDC_HS
board=custom

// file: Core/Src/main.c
/* USER CODE BEGIN Header */
/**
  ******************************************************************************
  * @file           : main.c
  * @brief          : Main program body
  ******************************************************************************
  * @attention
  *
  * Copyright (c) 2026 STMicroelectronics.
  * All rights reserved.
  *
  * This software is licensed under terms that can be found in the LICENSE file
  * in the root directory of this software component.
  * If no LICENSE file comes with this software, it is provided AS-IS.
  *
  ******************************************************************************
  */
/* USER CODE END Header */
#include "main.h"
#include "FreeRTOS.h"
#include "cmsis_os2.h"
#include "adc.h"
#include "bdma.h"
#include "dma.h"
#include "fdcan.h"
#include "mdma.h"
#include "octospi.h"
#include "spi.h"
#include "tim.h"
#include "usart.h"
#include "usb_device.h"
#include "gpio.h"

/* USER CODE BEGIN Includes */
#include "bsp_dwt.h"    /* DWT_Init() */
#include "robot.h"      /* Robot_Init() —— 机器人层唯一入口
                           ⚠️ 本文件是 C 文件:只能包这种 C 兼容头,绝不能
                           include motor_XX/xxx.h 等 C++ 类头,否则报
                           unknown type name 'class' / 'motor_Control_mode' ...
                           (电机代码在 User/App/motor_task/,任务在 User/App/robot/) */
/* USER CODE END Includes */

/* USER CODE BEGIN PV */
/* 「错误现场」变量(声明在 main.h 的 USER CODE ET 段,说明也在那里)。
   调试时先看 g_fault_code:1=堆分配失败 2=任务栈溢出 3=Error_Handler 4=HardFault */
volatile uint32_t g_fault_code = 0u;
volatile const char *g_fault_task = 0;
volatile uint32_t g_fault_cfsr = 0u;
volatile uint32_t g_fault_hfsr = 0u;
volatile uint32_t g_fault_mmfar = 0u;
volatile uint32_t g_fault_bfar = 0u;
volatile uint32_t g_fault_psp = 0u;
volatile uint32_t g_fault_msp = 0u;
volatile uint32_t g_fault_pc_psp = 0u;
/* USER CODE END PV */

void SystemClock_Config(void);
void PeriphCommonClock_Config(void);
static void MPU_Config(void);
void MX_FREERTOS_Init(void);

int main(void)
{

  /* MPU Configuration--------------------------------------------------------*/
  MPU_Config();

  /* Enable the CPU Cache */

  /* Enable I-Cache---------------------------------------------------------*/
  SCB_EnableICache();

  /* Enable D-Cache---------------------------------------------------------*/
  SCB_EnableDCache();

  /* MCU Configuration--------------------------------------------------------*/

  /* Reset of all peripherals, Initializes the Flash interface and the Systick. */
  HAL_Init();

  /* Configure the system clock */
  SystemClock_Config();

  /* Configure the peripherals common clocks */
  PeriphCommonClock_Config();

  /* Initialize all configured peripherals */
  MX_GPIO_Init();
  MX_DMA_Init();
  MX_BDMA_Init();
  MX_MDMA_Init();
  MX_FDCAN1_Init();
  MX_FDCAN2_Init();
  MX_UART5_Init();
  MX_SPI2_Init();
  MX_TIM3_Init();
  MX_UART7_Init();
  MX_USART1_UART_Init();
  MX_USART2_UART_Init();
  MX_USART3_UART_Init();
  MX_USART10_UART_Init();
  MX_FDCAN3_Init();
  MX_ADC3_Init();
  MX_ADC1_Init();
  MX_TIM1_Init();
  MX_TIM2_Init();
  MX_OCTOSPI2_Init();
  MX_TIM5_Init();
  MX_TIM12_Init();
  MX_SPI6_Init();
  /* USER CODE BEGIN 2 */
  /* ★ 采样 1:MX_OCTOSPI2_Init() 之后、Robot_Init() 之前的 OSPI 状态
     (1=READY 正常 ; 2/4 = 已经忙 ⇒ 问题在 main 里的初始化) */
  {
    extern volatile uint32_t flash_diag_raw;
    flash_diag_raw = (uint32_t)hospi2.State;
  }
  /* ==================== 本工程的启动顺序 ====================
   *   ① DWT_Init(0)      微秒级时间戳(DWT->CYCCNT,内核时钟)
   *                      —— 电机的发送频率调度靠它,必须最先起
   *   ② Robot_Init()     机器人层初始化(仿 basic_framework 的 RobotInit):
   *                        各 BSP(CAN 过滤器等)
   *                        → 各子系统 Init(电机 Init + 注册接收回调)
   *                      ⚠️ 建 RTOS 任务**不在这里** —— CMSIS-RTOS2 要求先
   *                         osKernelInitialize() 才能建线程,而本段在它之前;
   *                         建任务在下面 MX_FREERTOS_Init() 的 RTOS_THREADS 段
   *                         里由 OSTaskInit() 完成。
   *   ③ osKernelInitialize() / MX_FREERTOS_Init()  ← 内部:建任务
   *   ④ osKernelStart()  调度器接管,此后 main 里的代码不再执行
   * 任务的周期/优先级/栈在 User/App/robot/robot_def.h 里配。
   * ========================================================= */
  DWT_Init(0);
  Robot_Init();

  /* PC15 = POWER_5V(5V 使能脚):现在由 MX_GPIO_Init() 初始化成**低 = 关闭**。
     改的是 LGRobotSystem.ioc 里 PC15-OSC32_OUT.PinState=GPIO_PIN_RESET,
     所以重新生成代码也保持关闭;Core/Src/gpio.c 已与 .ioc 一致。
     运行中要开/关:
         HAL_GPIO_WritePin(POWER_5V_GPIO_Port, POWER_5V_Pin, GPIO_PIN_SET);    //开 5V
         HAL_GPIO_WritePin(POWER_5V_GPIO_Port, POWER_5V_Pin, GPIO_PIN_RESET);  //关 5V
     ⚠️ 它是板上 **5V 输出使能**(达妙 DM-MC-Board02 手册:PC15 = Power_5V_EN,丝印 "5V EN"),
        关掉只切断 5V 输出那一路;板子自身 3.3V 逻辑(MCU/板载 IMU/CAN 收发器)不受影响。 */
  /* USER CODE END 2 */

  /* Init scheduler */
  osKernelInitialize();  /* Call init function for freertos objects (in cmsis_os2.c) */
  MX_FREERTOS_Init();

  /* Start scheduler */
  osKernelStart();

  /* We should never get here as control is now taken by the scheduler */

  /* Infinite loop */
  while (1)
  {

  }
}

void SystemClock_Config(void)
{
  RCC_OscInitTypeDef RCC_OscInitStruct = {0};
  RCC_ClkInitTypeDef RCC_ClkInitStruct = {0};

  /** Supply configuration update enable
  */
  HAL_PWREx_ConfigSupply(PWR_LDO_SUPPLY);

  /** Configure the main internal regulator output voltage
  */
  __HAL_PWR_VOLTAGESCALING_CONFIG(PWR_REGULATOR_VOLTAGE_SCALE1);

  while(!__HAL_PWR_GET_FLAG(PWR_FLAG_VOSRDY)) {}

  /** Initializes the RCC Oscillators according to the specified parameters
  * in the RCC_OscInitTypeDef structure.
  */
  RCC_OscInitStruct.OscillatorType = RCC_OSCILLATORTYPE_HSI48|RCC_OSCILLATORTYPE_HSI
                              |RCC_OSCILLATORTYPE_HSE;
  RCC_OscInitStruct.HSEState = RCC_HSE_ON;
  RCC_OscInitStruct.HSIState = RCC_HSI_DIV1;
  RCC_OscInitStruct.HSICalibrationValue = 64;
  RCC_OscInitStruct.HSI48State = RCC_HSI48_ON;
  RCC_OscInitStruct.PLL.PLLState = RCC_PLL_ON;
  RCC_OscInitStruct.PLL.PLLSource = RCC_PLLSOURCE_HSE;
  RCC_OscInitStruct.PLL.PLLM = 6;
  RCC_OscInitStruct.PLL.PLLN = 160;
  RCC_OscInitStruct.PLL.PLLP = 1;
  RCC_OscInitStruct.PLL.PLLQ = 4;
  RCC_OscInitStruct.PLL.PLLR = 2;
  RCC_OscInitStruct.PLL.PLLRGE = RCC_PLL1VCIRANGE_2;
  RCC_OscInitStruct.PLL.PLLVCOSEL = RCC_PLL1VCOWIDE;
  RCC_OscInitStruct.PLL.PLLFRACN = 0;
  if (HAL_RCC_OscConfig(&RCC_OscInitStruct) != HAL_OK)
  {
    Error_Handler();
  }

  /** Initializes the CPU, AHB and APB buses clocks
  */
  RCC_ClkInitStruct.ClockType = RCC_CLOCKTYPE_HCLK|RCC_CLOCKTYPE_SYSCLK
                              |RCC_CLOCKTYPE_PCLK1|RCC_CLOCKTYPE_PCLK2
                              |RCC_CLOCKTYPE_D3PCLK1|RCC_CLOCKTYPE_D1PCLK1;
  RCC_ClkInitStruct.SYSCLKSource = RCC_SYSCLKSOURCE_PLLCLK;
  RCC_ClkInitStruct.SYSCLKDivider = RCC_SYSCLK_DIV1;
  RCC_ClkInitStruct.AHBCLKDivider = RCC_HCLK_DIV4;
  RCC_ClkInitStruct.APB3CLKDivider = RCC_APB3_DIV2;
  RCC_ClkInitStruct.APB1CLKDivider = RCC_APB1_DIV2;
  RCC_ClkInitStruct.APB2CLKDivider = RCC_APB2_DIV2;
  RCC_ClkInitStruct.APB4CLKDivider = RCC_APB4_DIV2;

  if (HAL_RCC_ClockConfig(&RCC_ClkInitStruct, FLASH_LATENCY_2) != HAL_OK)
  {
    Error_Handler();
  }
}

void PeriphCommonClock_Config(void)
{
  RCC_PeriphCLKInitTypeDef PeriphClkInitStruct = {0};

  /** Initializes the peripherals clock
  */
  PeriphClkInitStruct.PeriphClockSelection = RCC_PERIPHCLK_FDCAN|RCC_PERIPHCLK_USART1
                              |RCC_PERIPHCLK_USART10|RCC_PERIPHCLK_CKPER;
  PeriphClkInitStruct.PLL2.PLL2M = 24;
  PeriphClkInitStruct.PLL2.PLL2N = 200;
  PeriphClkInitStruct.PLL2.PLL2P = 2;
  PeriphClkInitStruct.PLL2.PLL2Q = 2;
  PeriphClkInitStruct.PLL2.PLL2R = 2;
  PeriphClkInitStruct.PLL2.PLL2RGE = RCC_PLL2VCIRANGE_0;
  PeriphClkInitStruct.PLL2.PLL2VCOSEL = RCC_PLL2VCOMEDIUM;
  PeriphClkInitStruct.PLL2.PLL2FRACN = 0;
  PeriphClkInitStruct.CkperClockSelection = RCC_CLKPSOURCE_HSI;
  PeriphClkInitStruct.FdcanClockSelection = RCC_FDCANCLKSOURCE_PLL2;
  PeriphClkInitStruct.Usart16ClockSelection = RCC_USART16910CLKSOURCE_PLL2;
  if (HAL_RCCEx_PeriphCLKConfig(&PeriphClkInitStruct) != HAL_OK)
  {
    Error_Handler();
  }
}

 /* MPU Configuration */

void MPU_Config(void)
{
  MPU_Region_InitTypeDef MPU_InitStruct = {0};

  /* Disables the MPU */
  HAL_MPU_Disable();

  /** Initializes and configures the Region and the memory to be protected
  */
  MPU_InitStruct.Enable = MPU_REGION_ENABLE;
  MPU_InitStruct.Number = MPU_REGION_NUMBER0;
  MPU_InitStruct.BaseAddress = 0x24000000;
  MPU_InitStruct.Size = MPU_REGION_SIZE_512KB;
  MPU_InitStruct.SubRegionDisable = 0x0;
  MPU_InitStruct.TypeExtField = MPU_TEX_LEVEL1;
  MPU_InitStruct.AccessPermission = MPU_REGION_FULL_ACCESS;
  MPU_InitStruct.DisableExec = MPU_INSTRUCTION_ACCESS_ENABLE;
  MPU_InitStruct.IsShareable = MPU_ACCESS_NOT_SHAREABLE;
  MPU_InitStruct.IsCacheable = MPU_ACCESS_NOT_CACHEABLE;
  MPU_InitStruct.IsBufferable = MPU_ACCESS_NOT_BUFFERABLE;

  HAL_MPU_ConfigRegion(&MPU_InitStruct);

  /** Initializes and configures the Region and the memory to be protected
  */
  MPU_InitStruct.Number = MPU_REGION_NUMBER1;
  MPU_InitStruct.BaseAddress = 0x70000000 ;
  MPU_InitStruct.Size = MPU_REGION_SIZE_256MB;

  HAL_MPU_ConfigRegion(&MPU_InitStruct);
  /* Enables the MPU */
  HAL_MPU_Enable(MPU_HFNMI_PRIVDEF);

}

void HAL_TIM_PeriodElapsedCallback(TIM_HandleTypeDef *htim)
{
  if (htim->Instance == TIM4)
  {
    HAL_IncTick();
  }
}

void Error_Handler(void)
{
  /* USER CODE BEGIN Error_Handler_Debug */
  /* User can add his own implementation to report the HAL error return state */
  /* ★ 记下"是这里停的",否则它和 configASSERT / HardFault / 各种死循环在调试器里长得一样。
     谁调用它的:Core/Src 里各外设的 MX_xxx_Init()(HAL 返回非 HAL_OK 时)。
     断在这就把 g_fault_code 设个标记,再回上一帧看是哪个外设。
     ⚠️ 故意不自动复位:自动复位会把故障现场冲掉,调试阶段宁可停住。 */
  g_fault_code = 3u;
  __disable_irq();
  while (1)
  {
  }
  /* USER CODE END Error_Handler_Debug */
}

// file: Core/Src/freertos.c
/* USER CODE BEGIN Header */
/**
  ******************************************************************************
  * File Name          : freertos.c
  * Description        : Code for freertos applications
  ******************************************************************************
  * @attention
  *
  * Copyright (c) 2026 STMicroelectronics.
  * All rights reserved.
  *
  * This software is licensed under terms that can be found in the LICENSE file
  * in the root directory of this software component.
  * If no LICENSE file comes with this software, it is provided AS-IS.
  *
  ******************************************************************************
  */
/* USER CODE END Header */

#include "FreeRTOS.h"
#include "task.h"
#include "main.h"
#include "FreeRTOS.h"
#include "cmsis_os2.h"

/* USER CODE BEGIN Includes */
#include "dev_log.h"     /* 日志:USB 起来后打开实时控制台 */
#include "robot.h"      /* 机器人层入口:Robot_Init()(在下面 RTOS_THREADS 段里调用)。
                           只能包这种 C 兼容头,绝不能 include motor_XX/xxx.h(C++ 类) */
/* USER CODE END Includes */

/* Definitions for defaultTask */
osThreadId_t defaultTaskHandle;
const osThreadAttr_t defaultTask_attributes = {
  .name = "defaultTask",
  .stack_size = 1024 * 4,
  .priority = (osPriority_t) osPriorityNormal,
};

void StartDefaultTask(void *argument);

extern void MX_USB_DEVICE_Init(void);
void MX_FREERTOS_Init(void); /* (MISRA C 2004 rule 8.1) */

/* Hook prototypes */
void vApplicationStackOverflowHook(xTaskHandle xTask, char *pcTaskName);
void vApplicationMallocFailedHook(void);

/* USER CODE BEGIN 4 */
/* ============================================================================
 * 任务栈溢出钩子(configCHECK_FOR_STACK_OVERFLOW = 2)
 *
 * ⚠️ 这个空壳是 **CubeMX 自己生成的**(在 USER CODE 4 里 ⇒ 重新导出会保留 ✓),
 *    所以诊断代码要写在这里 —— 不要再在下面的 USER CODE Application 里另写一份,
 *    否则就会"重复定义"编译不过(踩过这个坑)。
 * 模式 2 = 任务切换时检查栈尾魔数被踩掉;不开这个检测,栈溢出只会静默踩坏别人的变量,
 * 最后表现为各种灵异 HardFault。
 * 变量定义在 Core/Src/main.c,声明在 Core/Inc/main.h。
 * ========================================================================== */
void vApplicationStackOverflowHook(xTaskHandle xTask, char *pcTaskName)
{
   (void)xTask;
   g_fault_code = 2u;                  /* 2 = 任务栈溢出 */
   g_fault_task = pcTaskName;          /* ← 调试器看这个,直接知道是哪个任务栈小了 */
   taskDISABLE_INTERRUPTS();
   for (;;) { }
}
/* USER CODE END 4 */

/* USER CODE BEGIN 5 */
/* ============================================================================
 * 动态内存分配失败钩子(configUSE_MALLOC_FAILED_HOOK = 1)
 *
 * 同样:**这个空壳是 CubeMX 生成的**(USER CODE 5)⇒ 诊断写这里,别在别处另写一份。
 * 堆不够时 pvPortMalloc 失败会被调用。典型后果是任务"静默地不存在"
 * (osThreadNew 返回 NULL),所以这里必须留下可看现场的信息。
 * ========================================================================== */
void vApplicationMallocFailedHook(void)
{
   g_fault_code = 1u;                  /* 1 = FreeRTOS 堆分配失败 */
   taskDISABLE_INTERRUPTS();
   for (;;) { }
}
/* USER CODE END 5 */

void MX_FREERTOS_Init(void) {

  /* Create the thread(s) */
  /* creation of defaultTask */
  defaultTaskHandle = osThreadNew(StartDefaultTask, NULL, &defaultTask_attributes);

  /* USER CODE BEGIN RTOS_THREADS */
  /* ★ 建机器人的 RTOS 任务 —— 这里,而不是 main.c 的 USER CODE 2。原因:
   *   CMSIS-RTOS2 要求必须**先 osKernelInitialize() 才能建线程**,
   *   而 main.c 里的 USER CODE 2 在 osKernelInitialize() **之前**
   *   (参考工程 basic_framework 用 CMSIS-RTOS v1 的 osThreadCreate,
   *    那个在 FreeRTOS 下不要求先 init,所以它能放在 main 里;v2 不行)。
   *   本函数(MX_FREERTOS_Init)由 main.c 在 osKernelInitialize() 之后调用,
   *   且仍在 osKernelStart() 之前 ⇒ 这里是建任务唯一合法的位置。
   *
   *   分工:Robot_Init()(各 BSP + 各子系统初始化)在 main.c 里调;
   *         这里只负责 **建任务**(OSTaskInit:按 robot_def.h 的周期/优先级/栈创建)。
   *   前置条件:main.c 的 DWT_Init() 与 Robot_Init() 都已执行。 */
  OSTaskInit();
  /* USER CODE END RTOS_THREADS */

}

void StartDefaultTask(void *argument)
{
  /* init code for USB_DEVICE */
  MX_USB_DEVICE_Init();
  /* USER CODE BEGIN StartDefaultTask */
  /* USB 已经初始化完 ⇒ 打开日志的实时控制台(在 Robot_Init 里注册过回调) */
  Log_Console_Enable(true);
  Log_Printf(LOG_LEVEL_INFO, "usb console on");
  /* Infinite loop */
  for(;;)
  {
    osDelay(1);
  }
  /* USER CODE END StartDefaultTask */
}

/* USER CODE BEGIN Application */

/* ============================================================================
 * FreeRTOS 出错钩子 —— 只做"记录现场 + 停住",不 printf、不延时、不申请内存
 *
 * 为什么必须实现:默认的钩子(或 configASSERT)就是一个 `for(;;)`,
 * 和 Error_Handler / HardFault 在调试器里**完全一样**,根本分不清出了什么事。
 * 现在:堆爆 → g_fault_code=1;任务栈溢出 → g_fault_code=2,任务名在 g_fault_task。
 * (变量定义在 Core/Src/main.c,声明在 Core/Inc/main.h)
 * ========================================================================== */

/* USER CODE END Application */
